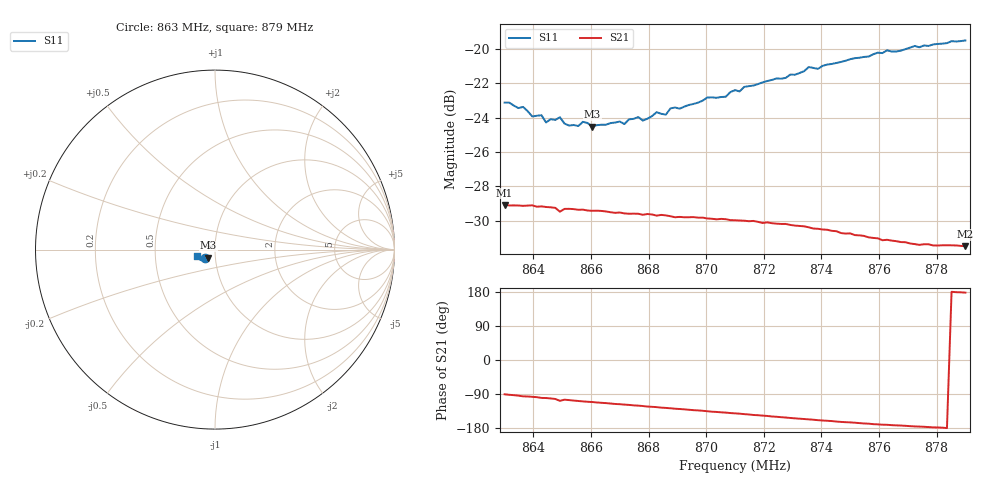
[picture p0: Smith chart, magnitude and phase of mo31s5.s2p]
# HZ S RI R 50
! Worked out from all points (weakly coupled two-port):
!   101 points, 863 MHz to 879 MHz, reference 50 ohm
!   highest |S21| = -29.08 dB at 863 MHz (marker M1); lowest = -31.5 dB at 879 MHz (marker M2)
!   lowest |S11| = -24.5 dB at 866.04 MHz (marker M3), VSWR 1.13, Z = 46.2 - j4.25 ohm
!   |S11| at or under -10 dB: start of sweep to end of sweep
!   S12 and S22 are empty: the file has one direction only
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8.63e8  -0.0531 -0.0453  -0.000287 -0.0351  0 0  0 0
8.6364e8  -0.0525 -0.0429  -0.00357 -0.0347  0 0  0 0
8.6396e8  -0.0476 -0.0422  -0.00438 -0.0348  0 0  0 0
8.6428e8  -0.0456 -0.0451  -0.00608 -0.0343  0 0  0 0
8.6444e8  -0.0447 -0.0416  -0.00623 -0.0341  0 0  0 0
8.6492e8  -0.0455 -0.044  -0.0102 -0.032  0 0  0 0
8.6524e8  -0.0412 -0.0434  -0.00933 -0.0329  0 0  0 0
8.6556e8  -0.04 -0.0443  -0.0106 -0.0323  0 0  0 0
8.6572e8  -0.0404 -0.0462  -0.0112 -0.0321  0 0  0 0
8.6604e8  -0.0378 -0.0458  -0.012 -0.0316  0 0  0 0
8.6716e8  -0.0357 -0.0488  -0.0154 -0.0294  0 0  0 0
8.6732e8  -0.0376 -0.0498  -0.0158 -0.0291  0 0  0 0
8.6764e8  -0.0378 -0.0508  -0.0168 -0.0285  0 0  0 0
8.678e8  -0.0361 -0.0503  -0.0172 -0.028  0 0  0 0
8.6828e8  -0.0374 -0.0537  -0.0184 -0.027  0 0  0 0
8.6844e8  -0.0374 -0.0529  -0.0192 -0.0267  0 0  0 0
8.7004e8  -0.041 -0.0594  -0.0227 -0.0226  0 0  0 0
8.7068e8  -0.0416 -0.0595  -0.024 -0.021  0 0  0 0
8.71e8  -0.0445 -0.0614  -0.0246 -0.02  0 0  0 0
8.7372e8  -0.0597 -0.0648  -0.0277 -0.0114  0 0  0 0
8.7644e8  -0.0807 -0.0562  -0.0274 -0.00387  0 0  0 0
8.79e8  -0.0992 -0.0372  -0.0266 0.00104  0 0  0 0
